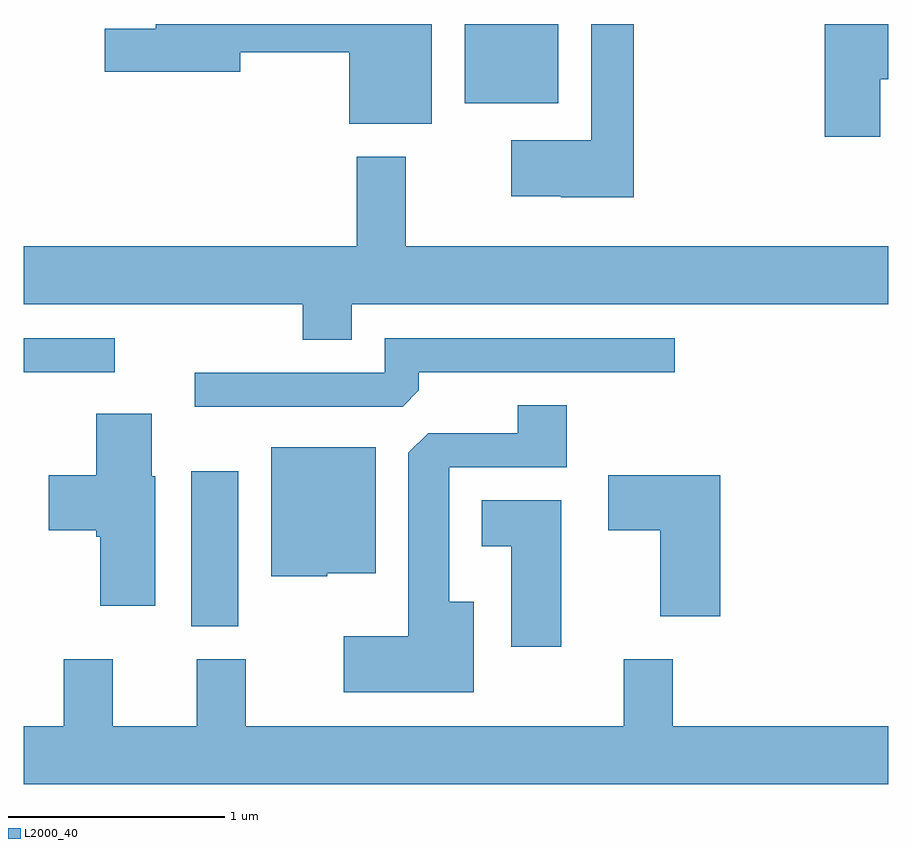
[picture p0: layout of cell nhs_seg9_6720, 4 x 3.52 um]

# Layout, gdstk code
import gdstk
lib = gdstk.Library(unit=1e-6, precision=1e-09)
def R(c, l, rs):  # rectangles x0, y0, x1, y1
    for r in rs: c.add(gdstk.rectangle(r[:2], r[2:], *l))
def P(c, l, *ps):  # polygons
    for p in ps: c.add(gdstk.Polygon(p, *l))
L2000_40 = (2000, 40)

nhs_seg9_6720 = lib.new_cell('nhs_seg9_6720')
R(nhs_seg9_6720, L2000_40, [(384.386,2003.646,384.604,2004.364), (383.611,2004.821,384.033,2004.979), (385.651,2006.066,386.084,2006.432)])
P(nhs_seg9_6720, L2000_40, [(385.499,2006.432),(384.221,2006.432),(384.221,2006.409),(383.986,2006.409),(383.986,2006.211),(384.614,2006.211),(384.614,2006.301),(385.116,2006.301),(385.116,2005.971),(385.499,2005.971)],
  [(386.434,2006.432),(386.236,2006.432),(386.236,2005.894),(385.866,2005.894),(385.866,2005.636),(386.095,2005.636),(386.095,2005.631),(386.434,2005.631)],
  [(387.574,2006.176),(387.611,2006.176),(387.611,2006.432),(387.316,2006.432),(387.316,2005.911),(387.574,2005.911)],
  [(385.129,2005.136),(387.611,2005.136),(387.611,2005.404),(385.379,2005.404),(385.379,2005.819),(385.151,2005.819),(385.151,2005.404),(383.611,2005.404),(383.611,2005.136),(384.901,2005.136),(384.901,2004.971),(385.129,2004.971)],
  [(385.439,2004.737),(385.439,2004.821),(386.623,2004.821),(386.623,2004.979),(385.281,2004.979),(385.281,2004.819),(384.403,2004.819),(384.403,2004.661),(385.364,2004.661)],
  [(385.694,2003.759),(385.579,2003.759),(385.579,2004.381),(386.124,2004.381),(386.124,2004.669),(385.896,2004.669),(385.896,2004.539),(385.482,2004.539),(385.391,2004.449),(385.391,2003.599),(385.091,2003.599),(385.091,2003.341),(385.694,2003.341)],
  [(384.219,2004.34),(384.204,2004.34),(384.204,2004.629),(383.946,2004.629),(383.946,2004.344),(383.726,2004.344),(383.726,2004.091),(383.946,2004.091),(383.946,2004.061),(383.966,2004.061),(383.966,2003.741),(384.219,2003.741)],
  [(385.015,2003.891),(385.239,2003.891),(385.239,2004.474),(384.756,2004.474),(384.756,2003.876),(385.015,2003.876)],
  [(386.834,2004.344),(386.316,2004.344),(386.316,2004.091),(386.556,2004.091),(386.556,2003.691),(386.834,2003.691)],
  [(386.099,2004.229),(385.731,2004.229),(385.731,2004.016),(385.866,2004.016),(385.866,2003.551),(386.099,2003.551)],
  [(387.611,2003.184),(386.614,2003.184),(386.614,2003.494),(386.386,2003.494),(386.386,2003.184),(384.639,2003.184),(384.639,2003.494),(384.411,2003.494),(384.411,2003.184),(384.024,2003.184),(384.024,2003.494),(383.796,2003.494),(383.796,2003.184),(383.611,2003.184),(383.611,2002.916),(387.611,2002.916)])

lib.write_gds('nhs_seg9_6720.gds')
